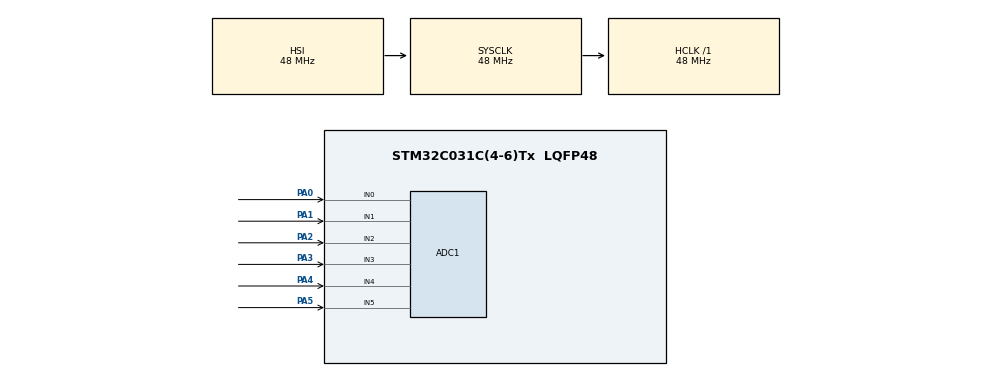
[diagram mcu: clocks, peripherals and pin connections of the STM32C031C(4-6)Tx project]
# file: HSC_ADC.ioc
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ADC1.Channel-0\#ChannelRegularConversion=ADC_CHANNEL_0
ADC1.Channel-1\#ChannelRegularConversion=ADC_CHANNEL_1
ADC1.Channel-2\#ChannelRegularConversion=ADC_CHANNEL_2
ADC1.Channel-3\#ChannelRegularConversion=ADC_CHANNEL_3
ADC1.Channel-4\#ChannelRegularConversion=ADC_CHANNEL_4
ADC1.Channel-5\#ChannelRegularConversion=ADC_CHANNEL_5
ADC1.ClockPrescaler=ADC_CLOCK_SYNC_PCLK_DIV4
ADC1.ContinuousConvMode=ENABLE
ADC1.DMAContinuousRequests=ENABLE
ADC1.EOCSelection=ADC_EOC_SEQ_CONV
ADC1.NbrOfConversion=6
ADC1.NbrOfConversionFlag=1
ADC1.Rank-0\#ChannelRegularConversion=1
ADC1.Rank-1\#ChannelRegularConversion=2
ADC1.Rank-2\#ChannelRegularConversion=3
ADC1.Rank-3\#ChannelRegularConversion=4
ADC1.Rank-4\#ChannelRegularConversion=5
ADC1.Rank-5\#ChannelRegularConversion=6
ADC1.SamplingTime-0\#ChannelRegularConversion=ADC_SAMPLINGTIME_COMMON_1
ADC1.SamplingTime-1\#ChannelRegularConversion=ADC_SAMPLINGTIME_COMMON_1
ADC1.SamplingTime-2\#ChannelRegularConversion=ADC_SAMPLINGTIME_COMMON_1
ADC1.SamplingTime-3\#ChannelRegularConversion=ADC_SAMPLINGTIME_COMMON_1
ADC1.SamplingTime-4\#ChannelRegularConversion=ADC_SAMPLINGTIME_COMMON_1
ADC1.SamplingTime-5\#ChannelRegularConversion=ADC_SAMPLINGTIME_COMMON_1
ADC1.SelectedChannel=ADC_CHANNEL_0|ADC_CHANNEL_1|ADC_CHANNEL_2|ADC_CHANNEL_3|ADC_CHANNEL_4|ADC_CHANNEL_5
ADC1.master=1
Dma.ADC1.0.Direction=DMA_PERIPH_TO_MEMORY
Dma.ADC1.0.EventEnable=DISABLE
Dma.ADC1.0.Instance=DMA1_Channel1
Dma.ADC1.0.MemDataAlignment=DMA_MDATAALIGN_HALFWORD
Dma.ADC1.0.MemInc=DMA_MINC_ENABLE
Dma.ADC1.0.Mode=DMA_CIRCULAR
Dma.ADC1.0.PeriphDataAlignment=DMA_PDATAALIGN_HALFWORD
Dma.ADC1.0.PeriphInc=DMA_PINC_DISABLE
Dma.ADC1.0.Polarity=HAL_DMAMUX_REQ_GEN_RISING
Dma.ADC1.0.Priority=DMA_PRIORITY_VERY_HIGH
Dma.ADC1.0.RequestNumber=1
Dma.ADC1.0.SignalID=NONE
Dma.ADC1.0.SyncEnable=DISABLE
Dma.ADC1.0.SyncPolarity=HAL_DMAMUX_SYNC_NO_EVENT
Dma.ADC1.0.SyncRequestNumber=1
Dma.ADC1.0.SyncSignalID=NONE
Dma.Request0=ADC1
Mcu.Family=STM32C0
Mcu.Name=STM32C031C(4-6)Tx
Mcu.Package=LQFP48
NVIC.DMA1_Channel1_IRQn=true\:0\:0\:false\:false\:true\:false\:true\:true
PA0.Mode=IN0
PA0.Signal=ADC1_IN0
PA1.Mode=IN1
PA1.Signal=ADC1_IN1
PA2.Mode=IN2
PA2.Signal=ADC1_IN2
PA3.Mode=IN3
PA3.Signal=ADC1_IN3
PA4.Mode=IN4
PA4.Signal=ADC1_IN4
PA5.Mode=IN5
PA5.Signal=ADC1_IN5
ProjectManager.HeapSize=0x200
ProjectManager.StackSize=0x400
ProjectManager.TargetToolchain=STM32CubeIDE
RCC.ADCCLockSelection=RCC_ADCCLKSOURCE_HSIKER
RCC.ADCFreq_Value=48000000
RCC.AHBFreq_Value=48000000
RCC.CortexFreq_Value=48000000
RCC.EXTERNAL_CLOCK_VALUE=12288000
RCC.HCLKFreq_Value=48000000
RCC.HSE_VALUE=48000000
RCC.HSISYSCLKDivider=RCC_HSI_DIV1
RCC.HSI_VALUE=48000000
RCC.LSE_VALUE=32768
RCC.SYSCLKFreq_VALUE=48000000
TIM16.Period=65000
VP_TIM16_VS_ClockSourceINT.Mode=Enable_Timer
board=NUCLEO-C031C6

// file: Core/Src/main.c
/* USER CODE BEGIN Header */
/**
  ******************************************************************************
  * @file           : main.c
  * @brief          : Main program body
  ******************************************************************************
  * @attention
  *
  * Copyright (c) 2023 STMicroelectronics.
  * All rights reserved.
  *
  * This software is licensed under terms that can be found in the LICENSE file
  * in the root directory of this software component.
  * If no LICENSE file comes with this software, it is provided AS-IS.
  *
  ******************************************************************************
  */
/* USER CODE END Header */
#include "main.h"

/* USER CODE BEGIN PD */
#define numChannelsADC 6
/* USER CODE END PD */

ADC_HandleTypeDef hadc1;
DMA_HandleTypeDef hdma_adc1;

TIM_HandleTypeDef htim16;

/* USER CODE BEGIN PV */

/* Optimized memory allocation for ADC data buffer */
__attribute__((section(".RAM_D1"))) uint16_t adcData[numChannelsADC];

/* Benchmarking timer stop time value [us] */
volatile float elapsedTime = 0.0;

/* USER CODE END PV */

void SystemClock_Config(void);
void PeriphCommonClock_Config(void);
static void MX_GPIO_Init(void);
static void MX_DMA_Init(void);
static void MX_ADC1_Init(void);
static void MX_TIM16_Init(void);
/* USER CODE BEGIN PFP */
void ADC_DMA_Conv_Init(void);
/* USER CODE END PFP */

int main(void)
{

  /* MCU Configuration--------------------------------------------------------*/

  /* Reset of all peripherals, Initializes the Flash interface and the Systick. */
  HAL_Init();

  /* Configure the system clock */
  SystemClock_Config();

/* Configure the peripherals common clocks */
  PeriphCommonClock_Config();

  /* Initialize all configured peripherals */
  MX_GPIO_Init();
  MX_DMA_Init();
  MX_ADC1_Init();
  MX_TIM16_Init();
  /* USER CODE BEGIN 2 */

  /* Initialize the ADC conversions via DMA */
  ADC_DMA_Conv_Init();

  /* USER CODE END 2 */

  /* Infinite loop */
  while (1)
  {
  }

}

void SystemClock_Config(void)
{
  RCC_OscInitTypeDef RCC_OscInitStruct = {0};
  RCC_ClkInitTypeDef RCC_ClkInitStruct = {0};

  /** Initializes the RCC Oscillators according to the specified parameters
  * in the RCC_OscInitTypeDef structure.
  */
  RCC_OscInitStruct.OscillatorType = RCC_OSCILLATORTYPE_HSI;
  RCC_OscInitStruct.HSIState = RCC_HSI_ON;
  RCC_OscInitStruct.HSIDiv = RCC_HSI_DIV1;
  RCC_OscInitStruct.HSICalibrationValue = RCC_HSICALIBRATION_DEFAULT;
  if (HAL_RCC_OscConfig(&RCC_OscInitStruct) != HAL_OK)
  {
    Error_Handler();
  }

  /** Initializes the CPU, AHB and APB buses clocks
  */
  RCC_ClkInitStruct.ClockType = RCC_CLOCKTYPE_HCLK|RCC_CLOCKTYPE_SYSCLK
                              |RCC_CLOCKTYPE_PCLK1;
  RCC_ClkInitStruct.SYSCLKSource = RCC_SYSCLKSOURCE_HSI;
  RCC_ClkInitStruct.SYSCLKDivider = RCC_SYSCLK_DIV1;
  RCC_ClkInitStruct.AHBCLKDivider = RCC_HCLK_DIV1;
  RCC_ClkInitStruct.APB1CLKDivider = RCC_APB1_DIV1;

  if (HAL_RCC_ClockConfig(&RCC_ClkInitStruct, FLASH_LATENCY_1) != HAL_OK)
  {
    Error_Handler();
  }
}

void PeriphCommonClock_Config(void)
{
  RCC_PeriphCLKInitTypeDef PeriphClkInit = {0};

  /** Initializes the common peripherals clocks
  */
  PeriphClkInit.PeriphClockSelection = RCC_PERIPHCLK_HSIKER;
  PeriphClkInit.HSIKerClockDivider = RCC_HSIKER_DIV1;

  if (HAL_RCCEx_PeriphCLKConfig(&PeriphClkInit) != HAL_OK)
  {
    Error_Handler();
  }
}

static void MX_ADC1_Init(void)
{

  ADC_ChannelConfTypeDef sConfig = {0};

  /** Configure the global features of the ADC (Clock, Resolution, Data Alignment and number of conversion)
  */
  hadc1.Instance = ADC1;
  hadc1.Init.ClockPrescaler = ADC_CLOCK_SYNC_PCLK_DIV1;
  hadc1.Init.Resolution = ADC_RESOLUTION_12B;
  hadc1.Init.DataAlign = ADC_DATAALIGN_RIGHT;
  hadc1.Init.ScanConvMode = ADC_SCAN_ENABLE;
  hadc1.Init.EOCSelection = ADC_EOC_SEQ_CONV;
  hadc1.Init.LowPowerAutoWait = DISABLE;
  hadc1.Init.LowPowerAutoPowerOff = DISABLE;
  hadc1.Init.ContinuousConvMode = ENABLE;
  hadc1.Init.NbrOfConversion = 6;
  hadc1.Init.ExternalTrigConv = ADC_SOFTWARE_START;
  hadc1.Init.ExternalTrigConvEdge = ADC_EXTERNALTRIGCONVEDGE_NONE;
  hadc1.Init.DMAContinuousRequests = ENABLE;
  hadc1.Init.Overrun = ADC_OVR_DATA_PRESERVED;
  hadc1.Init.SamplingTimeCommon1 = ADC_SAMPLETIME_12CYCLES_5;
  hadc1.Init.SamplingTimeCommon2 = ADC_SAMPLETIME_12CYCLES_5;
  hadc1.Init.OversamplingMode = DISABLE;
  hadc1.Init.TriggerFrequencyMode = ADC_TRIGGER_FREQ_HIGH;
  if (HAL_ADC_Init(&hadc1) != HAL_OK)
  {
    Error_Handler();
  }

  /** Configure Regular Channel
  */
  sConfig.Channel = ADC_CHANNEL_0;
  sConfig.Rank = ADC_REGULAR_RANK_1;
  sConfig.SamplingTime = ADC_SAMPLINGTIME_COMMON_1;
  if (HAL_ADC_ConfigChannel(&hadc1, &sConfig) != HAL_OK)
  {
    Error_Handler();
  }

  /** Configure Regular Channel
  */
  sConfig.Channel = ADC_CHANNEL_1;
  sConfig.Rank = ADC_REGULAR_RANK_2;
  if (HAL_ADC_ConfigChannel(&hadc1, &sConfig) != HAL_OK)
  {
    Error_Handler();
  }

  /** Configure Regular Channel
  */
  sConfig.Channel = ADC_CHANNEL_2;
  sConfig.Rank = ADC_REGULAR_RANK_3;
  if (HAL_ADC_ConfigChannel(&hadc1, &sConfig) != HAL_OK)
  {
    Error_Handler();
  }

  /** Configure Regular Channel
  */
  sConfig.Channel = ADC_CHANNEL_3;
  sConfig.Rank = ADC_REGULAR_RANK_4;
  if (HAL_ADC_ConfigChannel(&hadc1, &sConfig) != HAL_OK)
  {
    Error_Handler();
  }

  /** Configure Regular Channel
  */
  sConfig.Channel = ADC_CHANNEL_4;
  sConfig.Rank = ADC_REGULAR_RANK_5;
  if (HAL_ADC_ConfigChannel(&hadc1, &sConfig) != HAL_OK)
  {
    Error_Handler();
  }

  /** Configure Regular Channel
  */
  sConfig.Channel = ADC_CHANNEL_5;
  sConfig.Rank = ADC_REGULAR_RANK_6;
  if (HAL_ADC_ConfigChannel(&hadc1, &sConfig) != HAL_OK)
  {
    Error_Handler();
  }

}

static void MX_TIM16_Init(void)
{

  htim16.Instance = TIM16;
  htim16.Init.Prescaler = 0;
  htim16.Init.CounterMode = TIM_COUNTERMODE_UP;
  htim16.Init.Period = 65000;
  htim16.Init.ClockDivision = TIM_CLOCKDIVISION_DIV1;
  htim16.Init.RepetitionCounter = 0;
  htim16.Init.AutoReloadPreload = TIM_AUTORELOAD_PRELOAD_DISABLE;
  if (HAL_TIM_Base_Init(&htim16) != HAL_OK)
  {
    Error_Handler();
  }

}

static void MX_DMA_Init(void)
{

  /* DMA controller clock enable */
  __HAL_RCC_DMA1_CLK_ENABLE();

  /* DMA interrupt init */
  /* DMA1_Channel1_IRQn interrupt configuration */
  HAL_NVIC_SetPriority(DMA1_Channel1_IRQn, 0, 0);
  HAL_NVIC_EnableIRQ(DMA1_Channel1_IRQn);

}

static void MX_GPIO_Init(void)
{

  /* GPIO Ports Clock Enable */
  __HAL_RCC_GPIOA_CLK_ENABLE();

}

/* USER CODE BEGIN 4 */

/* Configure and initiate ADC conversion and DMA MtP transfers, in circular mode */
void ADC_DMA_Conv_Init(void)
  {
     /* Perform ADC enable and conversion start if no conversion is on going */
  	 if (LL_ADC_REG_IsConversionOngoing(ADC1) == 0UL)
  	   {
  	      /* Process locked */
  		  __HAL_LOCK(&hadc1);

  	      /* Specific case for first call occurrence of this function (DMA transfer */
  	      /* not activated and ADC disabled), DMA transfer must be activated        */
  	      /* with ADC disabled.                                                     */
  	      if ((ADC1->CFGR1 & ADC_CFGR1_DMAEN) == 0UL)
  	        {
  	           if (LL_ADC_IsEnabled(ADC1) != 0UL)
  	             {
  	                /* Disable ADC */
  	                LL_ADC_Disable(ADC1);
  	              }

  	             /* Enable ADC DMA mode */
  	             ADC1->CFGR1 |= ADC_CFGR1_DMAEN;
  	         }

  	      /* Enable the ADC peripheral */
  	      LL_ADC_Enable(ADC1);

  	      /* Set ADC error code */
  	      /* Reset all ADC error code fields */
  	      ADC_CLEAR_ERRORCODE(&hadc1);

	      /* Clear regular group conversion flag and overrun flag */
  	      /* (To ensure of no unknown state from potential previous ADC           */
          /* operations)                                                          */
  	      __HAL_ADC_CLEAR_FLAG(&hadc1, (ADC_FLAG_EOC | ADC_FLAG_EOS | ADC_FLAG_OVR));

  	      /* Process unlocked */
  	      /* Unlock before starting ADC conversions: in case of potential         */
  	      /* interruption, to let the process to ADC IRQ Handler.                 */
  	      __HAL_UNLOCK(&hadc1);

          /* Enable the interrupt in case of data overrun */
  	      ADC1->IER |= ADC_IT_OVR;

  	      /* DMA Process locked */
  	      __HAL_LOCK(&hdma_adc1);

  	      /* Disable the DMA peripheral, to configure it */
  	      DMA1_Channel1->CCR &= ~DMA_CCR_EN;

  	      /* Clear all DMA flags */
  	      DMA1->IFCR |= (DMA_FLAG_TC1 | DMA_FLAG_HT1 | DMA_FLAG_GI1);

  	      /* Configure DMA Channel data length (for all ADC channels, enter the number of channels) */
  	      DMA1_Channel1->CNDTR = numChannelsADC;

          /* MEMORY TO PERIPHERAL DMA TRANSFER PARAMETERS */

  	      /* Configure DMA Channel source address (ADC data register) */
  	      DMA1_Channel1->CPAR = (uint32_t)&hadc1.Instance->DR;

  	      /* Configure DMA Channel destination address (memory buffer, automatically filled element by element) */
  	      DMA1_Channel1->CMAR = (uint32_t)adcData;

  	      /* Enable DMA Circular mode (with this set and EOC for sequence, the conversions continue automatically until explicitly stopped) */
  	      /* If stopped, the ADC_DMA_Conv_Init function needs to be called again in order to start it again */
  	      DMA1_Channel1->CCR |= DMA_CCR_CIRC;

  	      /* Disable DMA half-transfer complete callback */
  	      DMA1_Channel1->CCR &= ~DMA_CCR_HTIE;

  	      /* Enable DMA transfer complete interrupt (occurs after ADC conversion complete and the full data transfer) */
  	      DMA1_Channel1->CCR |=  DMA_CCR_TCIE;

  	      /* Enable DMA channel 1 (for ADC data peripheral to memory transfer) */
  	      DMA1_Channel1->CCR |=  DMA_CCR_EN;

  	      /* Unlock the DMA channel for ADC */
  	      __HAL_UNLOCK(&hdma_adc1);

  	      /* Benchmarking, initialize the timer for the 1st time, start ticking until the callback is reached */
  	      TIM16->CNT = 0;
  	      TIM16->CR1 |= TIM_CR1_CEN;

  	      /* Start the initial ADC conversion */
  	      ADC1->CR |= (1<<2);

        }
   }

/* Artificially invoked by DMA transfer complete IRQ handler, for TC flag, because the ADC interrupt is disabled */
void HAL_ADC_ConvCpltCallback(ADC_HandleTypeDef *hadc)
{
	/* Benchmarking */
    /* Stop TIM6 counter */
	TIM16->CR1 &= ~TIM_CR1_CEN;

	/* Obtain the elapsed time */
    elapsedTime = (float)(TIM16->CNT)/48.0; /* Elapsed time for TIM16 in microseconds */

    /* Benchmarking */
    /* Start, count until the next group conversion (and DMA transfer) is complete */
    TIM16->CNT = 0;
    TIM16->CR1 |= TIM_CR1_CEN;

}

/* USER CODE END 4 */

void Error_Handler(void)
{
  __disable_irq();
  while (1)
  {
  }
}
